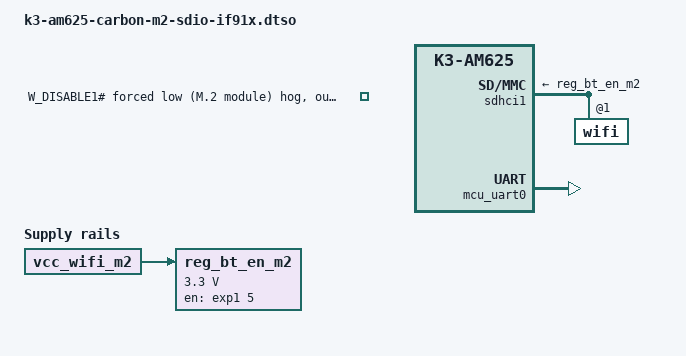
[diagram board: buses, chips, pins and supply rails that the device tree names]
// SPDX-License-Identifier: GPL-2.0
/*
 * M.2 SDIO overlay for Veda IF91x — direct M.2 slot (NOT DVK)
 *
 * For the IF91x DVK board (ribbon cable), use m2-sdio-if91x-dvk instead.
 *
 * On the Ezurio IF91x M.2 module:
 *   W_DISABLE1# (pin 56 / WL_REG_ON) is not connected on the module.
 *     We force it LOW via GPIO hog to ensure users of the DVK board
 *     cannot accidentally use this overlay — the DVK requires
 *     W_DISABLE1# HIGH for its MCU to boot.
 *   W_DISABLE2# (pin 54 / BT_REG_ON) drives the internal regulator
 *     and must be asserted HIGH for SDIO enumeration.
 *
 * Supply chain:
 *   vcc_wifi_m2 (M2_POWER_EN, always-on)
 *     → reg_bt_en_m2 (W_DISABLE2#, 1s startup)
 *       → sdhci1 vmmc-supply
 *
 * The IF91x is a programmable MCU that loads its application from
 * NVRAM at power-on — unlike a normal radio with masked ROM startup.
 * 1s startup delay is required after W_DISABLE2# assertion.
 *
 * Copyright (C) 2025-2026 Ezurio LLC
 */

/dts-v1/;
/plugin/;

#include "k3-am625-carbon-m2.dtsi"

&{/} {
	reg_bt_en_m2: regulator-bt-en-m2 {
		compatible = "regulator-fixed";
		regulator-name = "reg_bt_en_m2";
		regulator-min-microvolt = <3300000>;
		regulator-max-microvolt = <3300000>;

		vin-supply = <&vcc_wifi_m2>;

		gpios = <&exp1 5 GPIO_ACTIVE_HIGH>;  /* BT_REG_ON / W_DISABLE2# (pin 54) */
		enable-active-high;

		startup-delay-us = <1000000>;
		off-on-delay-us = <100>;
	};
};

/* Force W_DISABLE1# LOW — not used on M.2 module, and ensures
 * DVK users get an immediate failure if they select this overlay
 * instead of the m2-sdio-if91x-dvk overlay.
 */
&exp1 {
	wl-reg-on-force-low-hog {
		gpio-hog;
		gpios = <4 GPIO_ACTIVE_HIGH>;  /* WL_REG_ON / W_DISABLE1# (pin 56) */
		output-low;
		line-name = "W_DISABLE1# forced low (M.2 module)";
	};
};

&sdhci1 { /* SDIO_A uSD / M.2_SDIO */
	vmmc-supply = <&reg_bt_en_m2>;

	#address-cells = <1>;
	#size-cells = <0>;

	wifi@1 {
		reg = <1>;
	};
};

&mcu_uart0 {
	status = "okay";
};

&wifi_wakeup_m2 {
	status = "disabled";
};

&exp2 {
	/delete-property/ wakeup-source;
};
